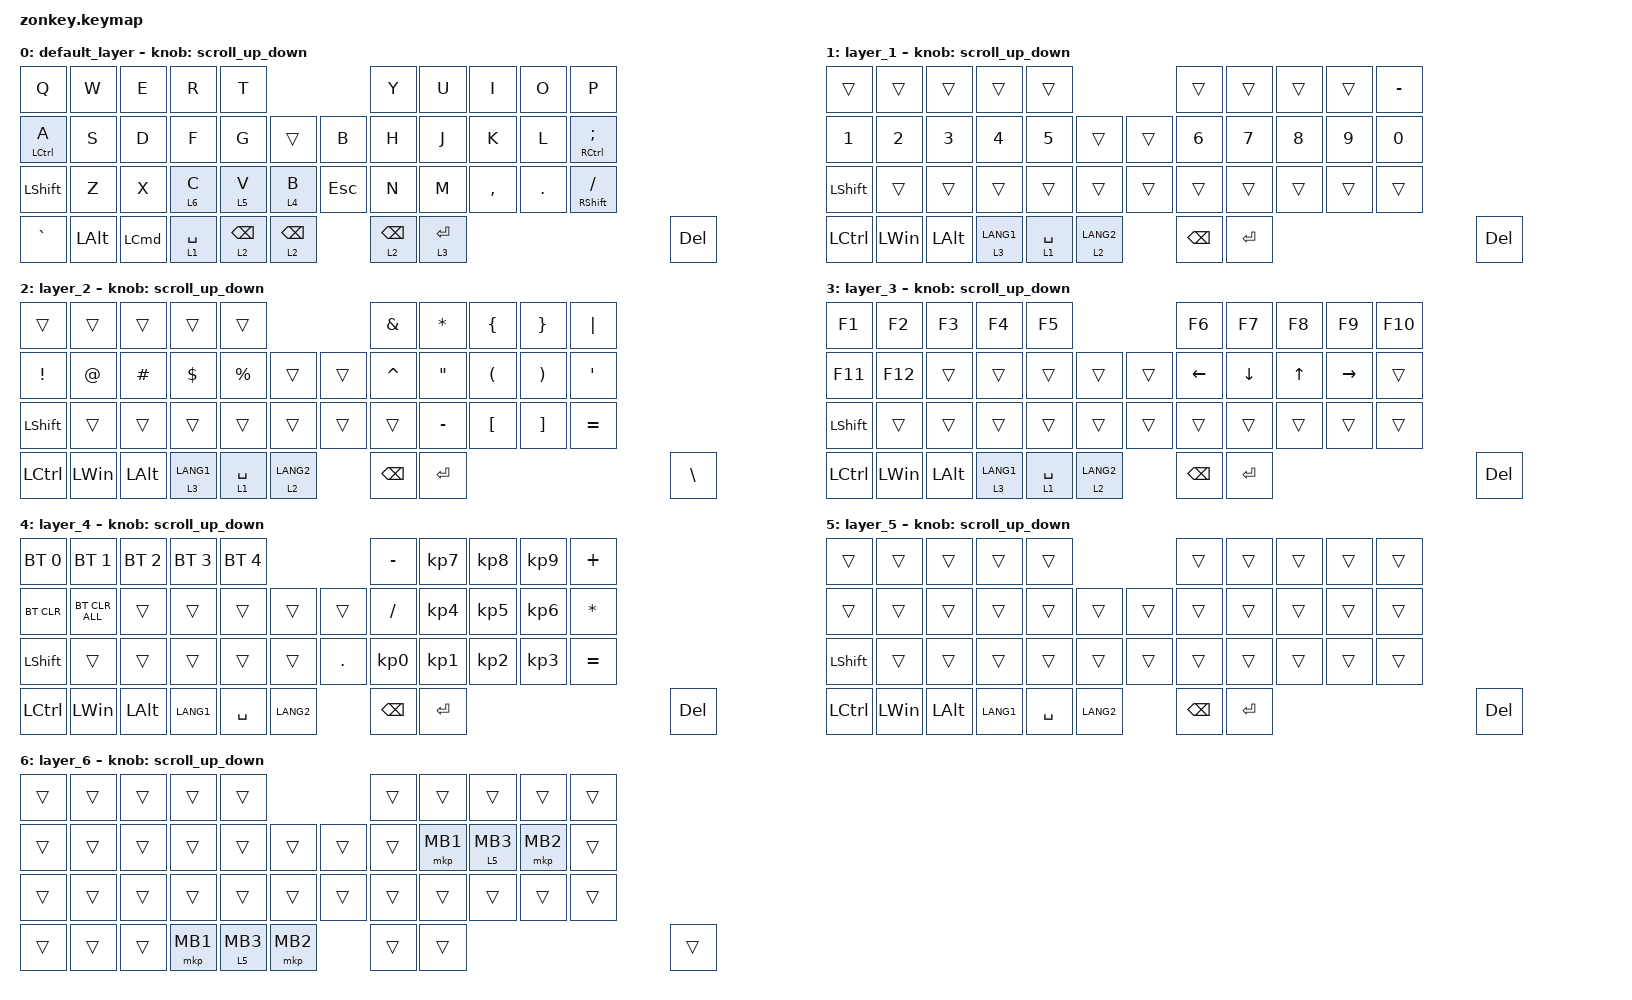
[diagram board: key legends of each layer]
#include <behaviors.dtsi>
#include <dt-bindings/zmk/bt.h>
#include <dt-bindings/zmk/keys.h>
#include <dt-bindings/zmk/pointing.h>

#define ZMK_POINTING_DEFAULT_SCRL_VAL 100
#define MOUSE 6
#define JP_DQUOTE       AT                // "
#define JP_AMPERSAND    CARET             // &
#define JP_QUOTE        AMPERSAND         // '
#define JP_EQUAL        UNDER             // =
#define JP_CARET        EQUAL             // ^
#define JP_YEN          0x89              // ¥
#define JP_PLUS         COLON             // +
#define JP_TILDE        PLUS              // ~
#define JP_PIPE         LS(0x89)          // |
#define JP_AT           LEFT_BRACKET      // @
#define JP_COLON        SINGLE_QUOTE      // :
#define JP_ASTERISK     DOUBLE_QUOTES     // *
#define JP_BACKQUOTE    LEFT_BRACE        // `
#define JP_UNDERSCORE   LS(0x87)          // _
#define JP_LBRACKET     RIGHT_BRACKET     // [
#define JP_RBRACKET     BACKSLASH         // ]
#define JP_LPAREN       ASTERISK          // (
#define JP_RPAREN       LEFT_PARENTHESIS  // )
#define JP_LBRACE       RIGHT_BRACE       // {
#define JP_RBRACE       PIPE              // }
#define JP_KANA         LANGUAGE_1        // かな
#define JP_EISU         LANGUAGE_2        // 英数
#define JP_HANZEN       GRAVE             // 半角/全角
#define JP_BSLH  INT1         // (backslash)

&mt {
    flavor = "balanced";
    quick-tap-ms = <0>;
    tapping-term-ms = <250>;
};

/ {
    combos {
        compatible = "zmk,combos";

        tab {
            bindings = <&kp TAB>;
            key-positions = <10 11>;
        };

        en {
            bindings = <&kp LANG2>;
            key-positions = <11 12>;
        };

        kana {
            bindings = <&kp LANG1>;
            key-positions = <19 20>;
        };
    };

    mo2: mo2 {
        compatible = "zmk,behavior-mod-morph";
        #binding-cells = <0>;
        bindings = <&kp N2>, <&kp AT>;

        mods = <(MOD_LSFT|MOD_RSFT)>;
    };

    mo6: mo6 {
        compatible = "zmk,behavior-mod-morph";
        #binding-cells = <0>;
        bindings = <&kp N6>, <&kp CARET>;

        mods = <(MOD_LSFT|MOD_RSFT)>;
    };

    mo7: mo7 {
        compatible = "zmk,behavior-mod-morph";
        #binding-cells = <0>;
        bindings = <&kp N7>, <&kp AMPS>;

        mods = <(MOD_LSFT|MOD_RSFT)>;
    };

    mo8: mo8 {
        compatible = "zmk,behavior-mod-morph";
        #binding-cells = <0>;
        bindings = <&kp N8>, <&kp ASTRK>;

        mods = <(MOD_LSFT|MOD_RSFT)>;
    };

    mo9: mo9 {
        compatible = "zmk,behavior-mod-morph";
        #binding-cells = <0>;
        bindings = <&kp N9>, <&kp LPAR>;

        mods = <(MOD_LSFT|MOD_RSFT)>;
    };

    mo0: mo0 {
        compatible = "zmk,behavior-mod-morph";
        #binding-cells = <0>;
        bindings = <&kp N0>, <&kp LS(N9)>;

        mods = <(MOD_LSFT|MOD_RSFT)>;
    };

    moA: moA {
        compatible = "zmk,behavior-mod-morph";
        #binding-cells = <0>;
        bindings = <&kp MINUS>, <&kp UNDERSCORE>;

        mods = <(MOD_LSFT|MOD_RSFT)>;
    };

    moB: moB {
        compatible = "zmk,behavior-mod-morph";
        #binding-cells = <0>;
        bindings = <&kp EQUAL>, <&kp PLUS>;

        mods = <(MOD_LSFT|MOD_RSFT)>;
    };

    moC: moC {
        compatible = "zmk,behavior-mod-morph";
        #binding-cells = <0>;
        bindings = <&kp INT3>, <&kp JP_PIPE>;

        mods = <(MOD_LSFT|MOD_RSFT)>;
    };

    moD: moD {
        compatible = "zmk,behavior-mod-morph";
        #binding-cells = <0>;
        bindings = <&kp LBKT>, <&kp LBRC>;

        mods = <(MOD_LSFT|MOD_RSFT)>;
    };

    moE: moE {
        compatible = "zmk,behavior-mod-morph";
        #binding-cells = <0>;
        bindings = <&kp RBKT>, <&kp RBRC>;

        mods = <(MOD_LSFT|MOD_RSFT)>;
    };

    moF: moF {
        compatible = "zmk,behavior-mod-morph";
        #binding-cells = <0>;
        bindings = <&kp SEMI>, <&kp KP_PLUS>;

        mods = <(MOD_LSFT|MOD_RSFT)>;
    };

    moG: moG {
        compatible = "zmk,behavior-mod-morph";
        #binding-cells = <0>;
        bindings = <&kp APOSTROPHE>, <&kp DQT>;

        mods = <(MOD_LSFT|MOD_RSFT)>;
    };

    moH: moH {
        compatible = "zmk,behavior-mod-morph";
        #binding-cells = <0>;
        bindings = <&kp BACKSLASH>, <&kp TILDE2>;

        mods = <(MOD_LSFT|MOD_RSFT)>;
    };

    moI: moI {
        compatible = "zmk,behavior-mod-morph";
        #binding-cells = <0>;
        bindings = <&kp JP_BSLH>, <&kp JP_UNDERSCORE>;

        mods = <(MOD_LSFT|MOD_RSFT)>;
    };

    macros {
        to_layer_0: to_layer_0 {
            compatible = "zmk,behavior-macro-one-param";
            #binding-cells = <1>;
            bindings = <&to 0 &macro_param_1to1 &kp MACRO_PLACEHOLDER>;
            label = "TO_LAYER_0";
        };
    };

    behaviors {
        lt_to_layer_0: lt_to_layer_0 {
            compatible = "zmk,behavior-hold-tap";
            label = "LAYER_TAP_TO_0";
            bindings = <&mo>, <&to_layer_0>;

            #binding-cells = <2>;
            tapping-term-ms = <200>;
        };

        mkp_layer: mkp_layer {
            compatible = "zmk,behavior-hold-tap";
            label = "MKP_LAYER";
            bindings = <&mo>, <&mkp>;

            #binding-cells = <2>;
            tapping-term-ms = <200>;
            flavor = "hold-preferred";
        };

        scroll_up_down: behavior_sensor_rotate_mouse_wheel_up_down {
            compatible = "zmk,behavior-sensor-rotate";
            #sensor-binding-cells = <0>;
            bindings = <&msc SCRL_DOWN>, <&msc SCRL_UP>;

            tap-ms = <20>;
        };
    };

    keymap {
        compatible = "zmk,keymap";

        default_layer {
            // -----------------------------------------------------------------------------------------
            // |  Q  |  W  |  E  |  R  |  T  |                        |  Y  |  U   |  I  |  O  |  P  | 
            // |  A  |  S  |  D  |  F  |  G  |LS(LG(S))|        　 | - |  H  |  J   |  K  |  L  |  `  | 
            // |SHIFT|  Z  |  X  |  C  |  V  |  B  |           | B |  N  |  M   |  ,  |  .  |  /  | 
            // | CTRL | WIN | ALT |HENKAN|SPACE|MUHENKAN|       | BS | ENT |      　　　　       | DEL |           

            bindings = <
&kp Q           &kp W         &kp E     &kp R        &kp T                                           &kp Y            &kp U        &kp I      &kp O    &kp P
&mt LCTRL A     &kp S         &kp D     &kp F        &kp G            &trans             &kp B       &kp H            &kp J        &kp K      &kp L    &mt RCTRL SEMICOLON
&kp LEFT_SHIFT  &kp Z         &kp X     &lt 6 C      &lt 5 V          &lt 4 B            &kp ESCAPE  &kp N            &kp M        &kp COMMA  &kp DOT  &mt RIGHT_SHIFT SLASH
&kp GRAVE       &kp LEFT_ALT  &kp LCMD  &lt 1 SPACE  &lt 2 BACKSPACE  &lt 2 BACKSPACE                &lt 2 BACKSPACE  &lt 3 ENTER                                             &kp DEL
            >;

            sensor-bindings = <&scroll_up_down>;
        };

        layer_1 {
            // -----------------------------------------------------------------------------------------
            // |     |     |     |     |     |                       |     |     |     |     |     |
            // |  1  |  2  |  3  |  4  |  5  |     |           |     |  6  |  7  |  8  |  9  |  0  |
            // |SHIFT|     |     |     |     |     |           |     |     |     |     |     |     |
            // | CTRL| WIN | ALT |かな |SPACE|英数 |           | BS  | ENT |                   | DEL |

            bindings = <
&trans          &trans        &trans        &trans       &trans                              &trans         &trans     &trans  &trans  &kp MINUS
&kp N1          &kp N2        &kp N3        &kp N4       &kp N5       &trans         &trans  &kp N6         &kp N7     &kp N8  &kp N9  &kp N0
&kp LEFT_SHIFT  &trans        &trans        &trans       &trans       &trans         &trans  &trans         &trans     &trans  &trans  &trans
&kp LCTRL       &kp LEFT_WIN  &kp LEFT_ALT  &lt 3 LANG1  &lt 1 SPACE  &lt 2 LANG2            &kp BACKSPACE  &kp ENTER                             &kp DEL
            >;

            sensor-bindings = <&scroll_up_down>;
        };

        layer_2 {
            // -----------------------------------------------------------------------------------------
            // |     |     |     |     |     |                       |     |     |     |     |     |
            // |  !  |  @  |  #  |  $  |  %  |     |           |     |  ^  |  &  |  *  |  (  |  )  |
            // |SHIFT|     |     |     |     |     |           |     |     |     |     |     |     |
            // | CTRL| WIN | ALT |かな |SPACE|英数 |           | BS  | ENT |                   | DEL |

            bindings = <
&trans          &trans        &trans        &trans       &trans                              &kp AMPERSAND  &kp ASTERISK       &kp LEFT_BRACE        &kp RIGHT_BRACE        &kp PIPE
&kp EXCL        &kp AT        &kp HASH      &kp DOLLAR   &kp PERCENT  &trans         &trans  &kp CARET      &kp DOUBLE_QUOTES  &kp LEFT_PARENTHESIS  &kp RIGHT_PARENTHESIS  &kp SINGLE_QUOTE
&kp LEFT_SHIFT  &trans        &trans        &trans       &trans       &trans         &trans  &trans         &kp MINUS          &kp LEFT_BRACKET      &kp RIGHT_BRACKET      &kp EQUAL
&kp LCTRL       &kp LEFT_WIN  &kp LEFT_ALT  &lt 3 LANG1  &lt 1 SPACE  &lt 2 LANG2            &kp BACKSPACE  &kp ENTER                                                                         &kp BACKSLASH
            >;

            sensor-bindings = <&scroll_up_down>;
        };

        layer_3 {
            // -----------------------------------------------------------------------------------------
            // | F1  | F2  | F3  | F4  | F5  |                     | F6  | F7 | F8  | F9 | F10 |
            // | F11 | F12 |     |     |     |     |           |    |     |     |     |     |      |
            // |SHIFT|     |     |     |     |     |           |     |     |     |     |     |      |
            // | CTRL| WIN | ALT |HENKAN|SPACE|MUHENKAN|         | BS | ENT |                   | DEL |

            bindings = <
&kp F1          &kp F2        &kp F3        &kp F4       &kp F5                              &kp F6          &kp F7          &kp F8        &kp F9     &kp F10
&kp F11         &kp F12       &trans        &trans       &trans       &trans         &trans  &kp LEFT_ARROW  &kp DOWN_ARROW  &kp UP_ARROW  &kp RIGHT  &trans
&kp LEFT_SHIFT  &trans        &trans        &trans       &trans       &trans         &trans  &trans          &trans          &trans        &trans     &trans
&kp LCTRL       &kp LEFT_WIN  &kp LEFT_ALT  &lt 3 LANG1  &lt 1 SPACE  &lt 2 LANG2            &kp BACKSPACE   &kp ENTER                                         &kp DEL
            >;

            sensor-bindings = <&scroll_up_down>;
        };

        layer_4 {
            // -----------------------------------------------------------------------------------------
            // | BT0 | BT1 | BT2 | BT3 | BT4 |                        |  -  |  7  |  8  |  9  |  +  |
            // |BTCLR |     |     |     |     |     |                 |  /  |  4  |  5  |  6  |  *  | 
            // |SHIFT|     |     |     |     |     |           |  .  |  0  |  1  |  2  |   3  |  =  |
            // | CTRL| WIN | ALT |HENKAN|SPACE|MUHENKAN|        | BS | ENT |                  | DEL |

            bindings = <
&bt BT_SEL 0    &bt BT_SEL 1    &bt BT_SEL 2  &bt BT_SEL 3  &bt BT_SEL 4                        &kp MINUS        &kp KP_NUMBER_7  &kp KP_NUMBER_8  &kp KP_NUMBER_9  &kp PLUS
&bt BT_CLR      &bt BT_CLR_ALL  &trans        &trans        &trans        &trans       &trans   &kp SLASH        &kp KP_NUMBER_4  &kp KP_NUMBER_5  &kp KP_NUMBER_6  &kp ASTERISK
&kp LEFT_SHIFT  &trans          &trans        &trans        &trans        &trans       &kp DOT  &kp KP_NUMBER_0  &kp KP_NUMBER_1  &kp KP_NUMBER_2  &kp KP_NUMBER_3  &kp EQUAL
&kp LCTRL       &kp LEFT_WIN    &kp LEFT_ALT  &kp LANG1     &kp SPACE     &kp LANG2             &kp BACKSPACE    &kp ENTER                                                        &kp DEL
            >;

            sensor-bindings = <&scroll_up_down>;
        };

        layer_5 {
            // -----------------------------------------------------------------------------------------
            // |      |     |     |     |     |                     |     |     |     |     |      |
            // |      |     |     |     |     |     |           |    |     |     |     |     |      |
            // |SHIFT|     |     |     |     |     |          |     |     |     |     |     |      |
            // | CTRL| WIN | ALT |HENKAN|SPACE|MUHENKAN|        | BS | ENT |                  | DEL |

            bindings = <
&trans          &trans        &trans        &trans     &trans                          &trans         &trans     &trans  &trans  &trans
&trans          &trans        &trans        &trans     &trans     &trans       &trans  &trans         &trans     &trans  &trans  &trans
&kp LEFT_SHIFT  &trans        &trans        &trans     &trans     &trans       &trans  &trans         &trans     &trans  &trans  &trans
&kp LCTRL       &kp LEFT_WIN  &kp LEFT_ALT  &kp LANG1  &kp SPACE  &kp LANG2            &kp BACKSPACE  &kp ENTER                          &kp DEL
            >;

            sensor-bindings = <&scroll_up_down>;
        };

        layer_6 {
            // 右手はトラックボール操作専用にし、クリックは左親指で行うことでドラッグ化を防ぐ
            // 左親指 左→右: MB1 / MB3 (スクロールトリガ) / MB2 (一般的なマウスのボタン並びに合わせる)
            bindings = <
&trans  &trans  &trans  &trans  &trans                              &trans  &trans    &trans            &trans    &trans
&trans  &trans  &trans  &trans  &trans            &trans    &trans  &trans  &mkp MB1  &mkp_layer 5 MB3  &mkp MB2  &trans
&trans  &trans  &trans  &trans  &trans            &trans    &trans  &trans  &trans    &trans            &trans    &trans
&trans  &trans  &trans  &mkp MB1  &mkp_layer 5 MB3  &mkp MB2        &trans  &trans                                          &trans
            >;

            sensor-bindings = <&scroll_up_down>;
        };
    };
};
